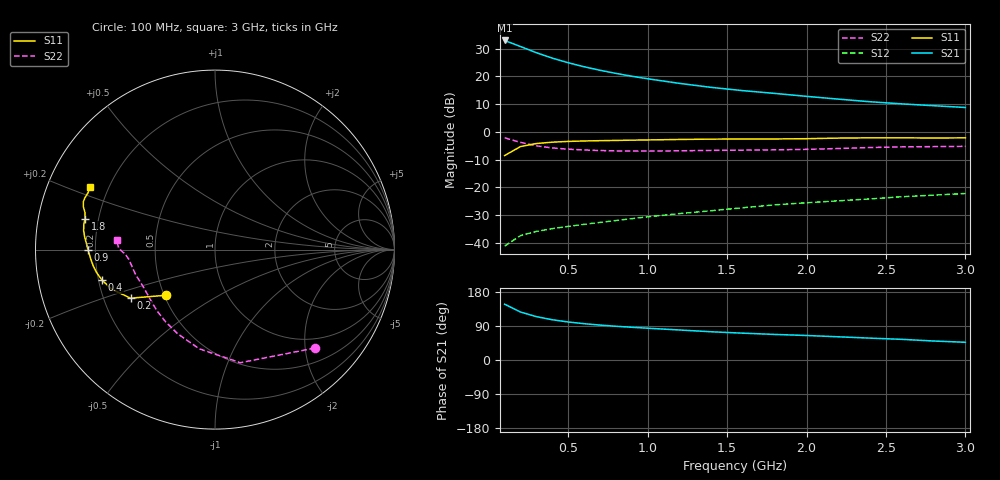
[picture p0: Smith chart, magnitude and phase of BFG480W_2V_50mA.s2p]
! Filename: 250BFG480.001
! Title: BFG480W
! Bias: Vce=2V; Ic=50mA
! Company: Philips Semiconductors NL
! User: Quality&Reliability T&D
! Measure time: 10 Nov 1999 / 11:54:01
#  MHz  S  MA  R 50
! Freq  S11  S21  S12  S22  :
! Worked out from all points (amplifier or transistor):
!   20 points, 100 MHz to 3 GHz, reference 50 ohm
!   highest |S21| = 32.9 dB at 100 MHz (marker M1)
!   |S21| within 3 dB of that: start of sweep to 236.6 MHz
!   unconditionally stable (mu >= 1): 915.5 MHz to end of sweep
!   at 400 MHz: K = 0.66, MSG = 30.7 dB, |S12| = -34.9 dB
!   at 1.2 GHz: K = 1.06, MAG = 21.9 dB, |S12| = -29.5 dB
!   at 3 GHz: K = 1.11, MAG = 13.5 dB, |S12| = -22.2 dB
!   S11 on the Smith chart (normalised r, x): 100 MHz: 0.51, -0.30; 200 MHz: 0.32, -0.24; 400 MHz: 0.21, -0.13; 900 MHz: 0.17, +0.00; 1.8 GHz: 0.15, +0.12; 3 GHz: 0.13, +0.23
100  0.374 -137.1  44.32 147.2  0.008712 67.3  0.7809 -44.6
200  0.5431 -150.1  34.46 126.7  0.01351 55.2  0.6458 -77.4
300  0.6156 -159.0  26.67 114.4  0.01609 51.5  0.5595 -99.0
400  0.6516 -164.8  21.28 106.2  0.01804 51.3  0.5131 -113.9
500  0.6723 -169.1  17.59 100.3  0.01979 52.6  0.487 -124.6
600  0.6848 -172.5  14.88 95.8  0.02155 54.2  0.4712 -132.5
700  0.6932 -175.3  12.88 92.2  0.02335 56.2  0.4607 -138.6
800  0.7002 -177.8  11.31 89.0  0.02525 58.2  0.4538 -143.6
900  0.7082 180.0  10.05 86.4  0.02723 60.3  0.4504 -147.9
1000  0.7146 178.0  9.049 83.9  0.02944 61.7  0.4497 -151.7
1200  0.7291 174.5  7.474 79.2  0.03363 64.1  0.4552 -157.8
1400  0.7392 171.9  6.328 74.5  0.03789 65.8  0.4634 -162.4
1600  0.7439 169.3  5.526 70.8  0.04294 67.3  0.468 -165.9
1800  0.7442 166.5  4.927 67.5  0.04839 68.4  0.4739 -169.6
2000  0.7527 164.2  4.36 64.7  0.0528 69.5  0.4837 -173.7
2200  0.7716 161.9  3.888 61.2  0.05717 69.9  0.501 -177.1
2400  0.7805 160.0  3.485 57.7  0.06185 69.7  0.5217 -179.3
2600  0.7802 158.2  3.191 54.5  0.06777 69.4  0.5361 179.2
2800  0.7749 155.9  2.957 50.1  0.07231 68.2  0.5418 177.3
3000  0.7793 153.2  2.747 46.8  0.07748 67.7  0.5483 174.4
